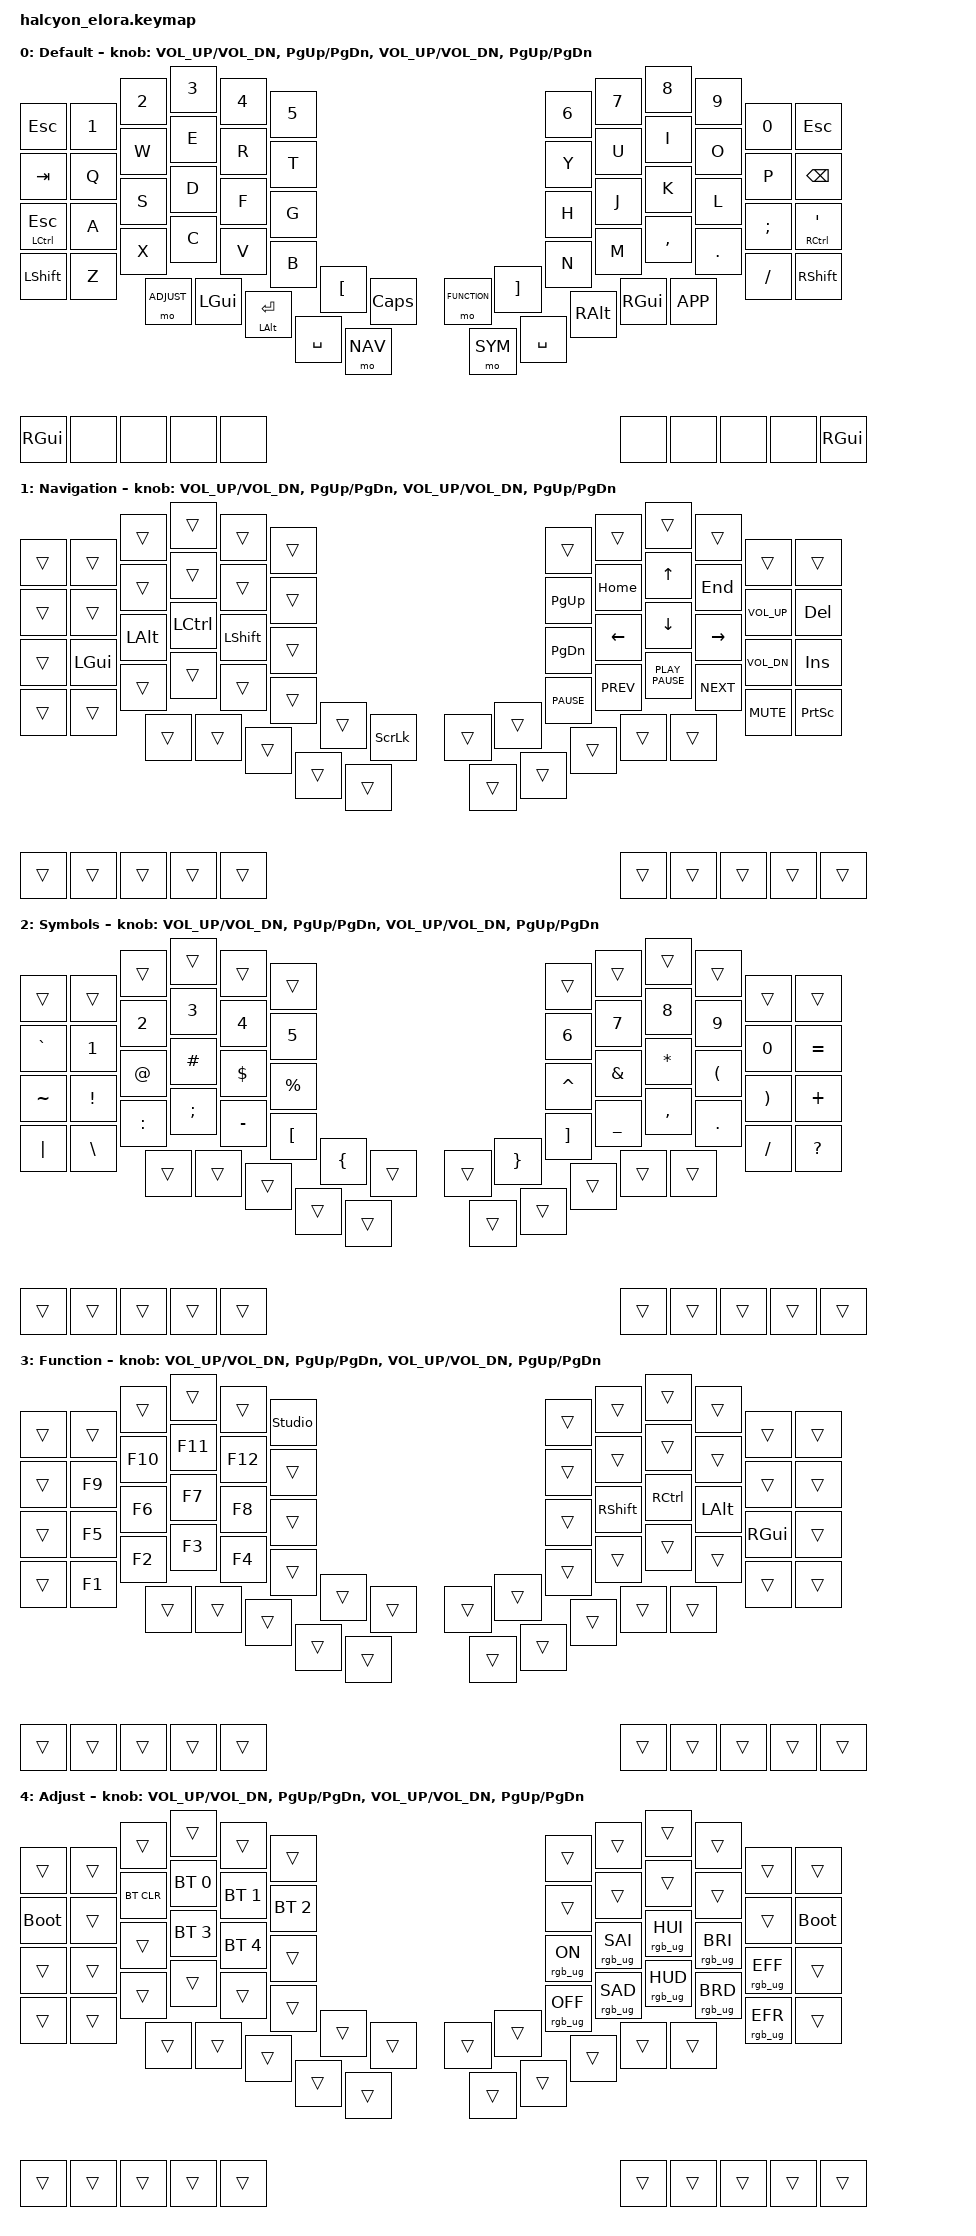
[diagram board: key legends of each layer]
/*
 * Copyright (c) 2023 The ZMK Contributors
 * Copyright (c) 2026 Splitkb.com
 *
 * SPDX-License-Identifier: MIT
 */

#include <behaviors.dtsi>
#include <dt-bindings/zmk/bt.h>
#include <dt-bindings/zmk/keys.h>
#include <dt-bindings/zmk/rgb.h>

#define DEFAULT  0
#define NAV      1
#define SYM      2
#define FUNCTION 3
#define ADJUST   4

/ {
    keymap {
        compatible = "zmk,keymap";

        qwerty_layer {
            display-name = "Default";
// ---------------------------------------------------------------------------------------------------------------
// |  ESC  |  1   |  2  |  3  |  4  |   5   |                               |  6  |  7  |  8  |  9  |  0  | BSPC |
// |  TAB  |  Q   |  W  |  E  |  R  |   T   |                               |  Y  |  U  |  I  |  O  |  P  | BSPC |
// |LC(ESC)|  A   |  S  |  D  |  F  |   G   |                               |  H  |  J  |  K  |  L  |  ;  |  '   |
// |  SHFT |  Z   |  X  |  C  |  V  |   B   | LBKT | CAPS |   | FUNC | RBKT |  N  |  M  |  ,  |  .  |  /  | SHFT |
//                      | ADJ | GUI |LA(ENT)| SPC  | NAV  |   | SYM  | SPC  | ALT | GUI | APP |
            bindings = <
&kp ESC       &kp N1 &kp N2 &kp N3   &kp N4   &kp N5                                                    &kp N6   &kp N7   &kp N8    &kp N9  &kp N0   &kp ESC
&kp TAB       &kp Q &kp W &kp E      &kp R    &kp T                                                     &kp Y    &kp U    &kp I     &kp O   &kp P    &kp BSPC
&mt LCTRL ESC &kp A &kp S &kp D      &kp F    &kp G                                                     &kp H    &kp J    &kp K     &kp L   &kp SEMI &mt RCTRL SQT
&kp LSHFT     &kp Z &kp X &kp C      &kp V    &kp B        &kp LBKT  &kp CAPS    &mo FUNCTION &kp RBKT  &kp N    &kp M    &kp COMMA &kp DOT &kp FSLH &kp RSHFT
                          &mo ADJUST &kp LGUI &mt LALT RET &kp SPACE &mo NAV     &mo SYM      &kp SPACE &kp RALT &kp RGUI &kp K_APP

&kp RGUI &none &none &none &none                                                                                             &none &none &none &none &kp RGUI
            >;
            sensor-bindings = <&inc_dec_kp C_VOL_UP C_VOL_DN &inc_dec_kp PG_UP PG_DN &inc_dec_kp C_VOL_UP C_VOL_DN &inc_dec_kp PG_UP PG_DN>;
        };

        // Uncomment one of the following layers, and comment the Qwerty layer, if you want to use Colemak or Dvorak layouts

        // dvorak_layer {
        //     display-name = "Default Layer";
        //     bindings = <
        //     &kp ESC       &kp N1   &kp N2    &kp N3     &kp N4   &kp N5                                                 &kp N6   &kp N7  &kp N8 &kp N9 &kp N0 &kp ESC
        //     &kp TAB       &kp SQT  &kp COMMA &kp DOT    &kp P    &kp Y                                                  &kp F    &kp G    &kp C &kp R &kp L &kp BSPC
        //     &mt LCTRL ESC &kp A    &kp O     &kp E      &kp U    &kp I                                                  &kp D    &kp H    &kp T &kp N &kp S &mt RCTRL SQT
        //     &kp LSHFT     &kp SEMI &kp Q     &kp J      &kp K    &kp X        &kp LBKT  &kp CAPS &mo FUNCTION &kp RBKT  &kp B    &kp M    &kp W &kp V &kp Z &kp RSHFT
        //                                      &mo ADJUST &kp LGUI &mt LALT RET &kp SPACE &mo NAV  &mo SYM      &kp SPACE &kp RALT &kp RGUI &kp K_APP
        //
        //     &kp RGUI &none &none &none &none                                                                                          &none &none &none &none &kp RGUI
        //     >;
        //
        //     sensor-bindings = <&inc_dec_kp C_VOL_UP C_VOL_DN &inc_dec_kp PG_UP PG_DN &inc_dec_kp C_VOL_UP C_VOL_DN &inc_dec_kp PG_UP PG_DN>;
        // };
        // colemak_dh_layer {
        //     display-name = "Default Layer";
        //     bindings = <
        //     &kp ESC       &kp N1 &kp N2 &kp N3   &kp N4   &kp N5                                                 &kp N6   &kp N7   &kp N8    &kp N9  &kp N0   &kp ESC
        //     &kp TAB       &kp Q &kp W &kp F      &kp P    &kp B                                                  &kp J    &kp L    &kp U     &kp Y   &kp SEMI &kp BSPC
        //     &mt LCTRL ESC &kp A &kp R &kp S      &kp T    &kp G                                                  &kp M    &kp N    &kp E     &kp I   &kp O    &mt RCTRL SQT
        //     &kp LSHFT     &kp Z &kp X &kp C      &kp D    &kp V        &kp LBKT  &kp CAPS &mo FUNCTION &kp RBKT  &kp K    &kp H    &kp COMMA &kp DOT &kp FSLH &kp RSHFT
        //                               &mo ADJUST &kp LGUI &mt LALT RET &kp SPACE &mo NAV  &mo SYM      &kp SPACE &kp RALT &kp RGUI &kp K_APP
        //
        //     &kp RGUI &none &none &none &none                                                                                          &none &none &none &none &kp RGUI
        //     >;
        //
        //     sensor-bindings = <&inc_dec_kp C_VOL_UP C_VOL_DN &inc_dec_kp PG_UP PG_DN &inc_dec_kp C_VOL_UP C_VOL_DN &inc_dec_kp PG_UP PG_DN>;
        // };

        navigation_layer {
            display-name = "Navigation";
// ------------------------------------------------------------------------------------------------------------
// |     |     |     |     |     |STDIO|                            |       |      |     |     |       |      |
// |     |     |     |     |     |     |                            | PG_UP | HOME | UP  | END | VOL_UP| DEL  |
// |     | GUI | ALT | CTL | SHFT|     |                            | PG_DN | LEFT | DOWN| RGT | VOL_DN| INS  |
// |     |     |     |     |     |     |     | SLCK |   |     |     | PAUSE | PREV | PLAY| NEXT| MUTE  | PSCRN|
//                   |     |     |     |     |      |   |     |     |       |      |     |
            bindings = <
&trans     &trans   &trans   &trans    &trans    &trans                                  &trans      &trans     &trans           &trans     &trans         &trans
&trans     &trans   &trans   &trans    &trans    &trans                                  &kp PG_UP   &kp HOME   &kp UP           &kp END    &kp K_VOL_UP   &kp DEL
&trans     &kp LGUI &kp LALT &kp LCTRL &kp LSHFT &trans                                  &kp PG_DN   &kp LEFT   &kp DOWN         &kp RIGHT  &kp K_VOL_DN   &kp INS
&trans     &trans   &trans   &trans    &trans    &trans &trans &kp SLCK    &trans &trans &kp C_PAUSE &kp K_PREV &kp K_PLAY_PAUSE &kp K_NEXT &kp K_MUTE     &kp PSCRN
                             &trans    &trans    &trans &trans &trans      &trans &trans &trans      &trans     &trans

&trans &trans &trans &trans &trans                                                                                             &trans &trans &trans &trans &trans
            >;
            sensor-bindings = <&inc_dec_kp C_VOL_UP C_VOL_DN &inc_dec_kp PG_UP PG_DN &inc_dec_kp C_VOL_UP C_VOL_DN &inc_dec_kp PG_UP PG_DN>;
        };

        symbol_layer {
            display-name = "Symbols";
// -----------------------------------------------------------------------------------------------------
// |     |     |     |     |     |     |                           |     |     |     |     |     |     |
// |  `  |  1  |  2  |  3  |  4  |  5  |                           |  6  |  7  |  8  |  9  |  0  |  =  |
// |  ~  |  !  |  @  |  #  |  $  |  %  |                           |  ^  |  &  |  *  |  (  |  )  |  +  |
// | "|" |  \  |  :  |  ;  |  -  |  [  |  {  |     |   |     |  }  |  ]  |  _  |  ,  |  .  |  /  |  ?  |
//                   |     |     |     |     |     |   |     |     |     |     |     |
            bindings = <
&trans    &trans   &trans    &trans   &trans    &trans                                       &trans    &trans    &trans    &trans   &trans   &trans
&kp GRAVE &kp N1   &kp N2    &kp N3   &kp N4    &kp N5                                       &kp N6    &kp N7    &kp N8    &kp N9   &kp N0   &kp EQUAL
&kp TILDE &kp EXCL &kp AT    &kp HASH &kp DLLR  &kp PRCNT                                    &kp CARET &kp AMPS  &kp STAR  &kp LPAR &kp RPAR &kp PLUS
&kp PIPE  &kp BSLH &kp COLON &kp SEMI &kp MINUS &kp LBKT  &kp LBRC &trans    &trans &kp RBRC &kp RBKT  &kp UNDER &kp COMMA &kp DOT  &kp FSLH &kp QMARK
                             &trans   &trans    &trans    &trans   &trans    &trans &trans   &trans    &trans    &trans

&trans &trans &trans &trans &trans                                                                               &trans &trans &trans &trans &trans
            >;
            sensor-bindings = <&inc_dec_kp C_VOL_UP C_VOL_DN &inc_dec_kp PG_UP PG_DN &inc_dec_kp C_VOL_UP C_VOL_DN &inc_dec_kp PG_UP PG_DN>;
        };

        function_layer {
            display-name = "Function";
// -----------------------------------------------------------------------------------------------------
// |     |     |     |     |     |     |                           |     |     |     |     |     |     |
// |     | F9  | F10 | F11 | F12 |     |                           |     |     |     |     |     |     |
// |     | F5  | F6  | F7  | F8  |     |                           |     |RSHFT|RCTRL| LALT| RGUI|     |
// |     | F1  | F2  | F3  | F4  |     |     |     |   |     |     |     |     |     |     |     |     |
//                   |     |     |     |     |     |   |     |     |     |     |     |
            bindings = <
&trans &trans &trans  &trans  &trans  &studio_unlock                       &trans &trans    &trans    &trans   &trans   &trans
&trans &kp F9 &kp F10 &kp F11 &kp F12 &trans                               &trans &trans    &trans    &trans   &trans   &trans
&trans &kp F5 &kp F6  &kp F7  &kp F8  &trans                               &trans &kp RSHFT &kp RCTRL &kp LALT &kp RGUI &trans
&trans &kp F1 &kp F2  &kp F3  &kp F4  &trans &trans &trans   &trans &trans &trans &trans    &trans    &trans   &trans   &trans
                      &trans  &trans  &trans &trans &trans   &trans &trans &trans &trans    &trans

&trans &trans &trans &trans &trans                                                          &trans &trans &trans &trans &trans
            >;
            sensor-bindings = <&inc_dec_kp C_VOL_UP C_VOL_DN &inc_dec_kp PG_UP PG_DN &inc_dec_kp C_VOL_UP C_VOL_DN &inc_dec_kp PG_UP PG_DN>;
        };

        adjust_layer {
            display-name = "Adjust";
// -----------------------------------------------------------------------------------------------------------------------
// |     |     |     |     |     |     |                           |       |       |       |       |       |     |
// | BOOT|     |BTCLR| BT1 | BT2 | BT3 |                           |       |       |       |       |       |BOOT |
// |     |     |     | BT4 | BT5 |     |                           | RGB_ON|RGB_HUI|RGB_SAI|RGB_BRI|RGB_EFF|     |
// |     |     |     |     |     |     |     |     |   |     |     |RGB_OFF|RGB_HUD|RGB_SAD|RGB_BRD|RGB_EFR|     |
//                   |     |     |     |     |     |   |     |     |       |       |       |
            bindings = <
&trans      &trans &trans     &trans       &trans       &trans                                     &trans          &trans          &trans          &trans          &trans          &trans
&bootloader &trans &bt BT_CLR &bt BT_SEL 0 &bt BT_SEL 1 &bt BT_SEL 2                               &trans          &trans          &trans          &trans          &trans          &bootloader
&trans      &trans &trans     &bt BT_SEL 3 &bt BT_SEL 4 &trans                                     &rgb_ug RGB_ON  &rgb_ug RGB_SAI &rgb_ug RGB_HUI &rgb_ug RGB_BRI &rgb_ug RGB_EFF &trans
&trans      &trans &trans     &trans       &trans       &trans       &trans &trans   &trans &trans &rgb_ug RGB_OFF &rgb_ug RGB_SAD &rgb_ug RGB_HUD &rgb_ug RGB_BRD &rgb_ug RGB_EFR &trans
                              &trans       &trans       &trans       &trans &trans   &trans &trans &trans          &trans          &trans

&trans &trans &trans &trans &trans                                                                                                                             &trans &trans &trans &trans &trans
            >;
            sensor-bindings = <&inc_dec_kp C_VOL_UP C_VOL_DN &inc_dec_kp PG_UP PG_DN &inc_dec_kp C_VOL_UP C_VOL_DN &inc_dec_kp PG_UP PG_DN>;
        };
    };
};
